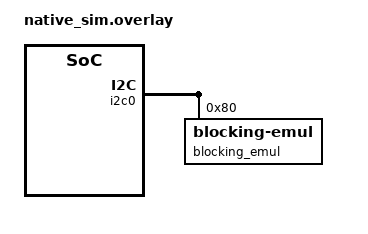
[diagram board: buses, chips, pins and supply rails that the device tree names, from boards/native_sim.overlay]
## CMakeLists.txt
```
# Copyright (c) 2024 Google LLC
# SPDX-License-Identifier: Apache-2.0

cmake_minimum_required(VERSION 3.28.0)
find_package(Zephyr REQUIRED HINTS $ENV{ZEPHYR_BASE})
project(rtio_i2c_test)

target_sources(app PRIVATE
    src/blocking_emul.cpp
    src/main.cpp
)

target_include_directories(app PRIVATE include)
```

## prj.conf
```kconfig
# Copyright (c) 2024 Google LLC
# SPDX-License-Identifier: Apache-2.0

# Features being tested
CONFIG_LOG=y
CONFIG_RTIO=y
CONFIG_I2C=y
CONFIG_I2C_RTIO=y

# Testing
CONFIG_ZTEST=y
CONFIG_EMUL=y

# The number of pending requests allowed
CONFIG_RTIO_WORKQ_POOL_ITEMS=2

# Used for debugging
CONFIG_I2C_LOG_LEVEL_DBG=y
CONFIG_I2C_DUMP_MESSAGES=y

# Language features for capturing lambdas
CONFIG_CPP=y
CONFIG_STD_CPP17=y
CONFIG_REQUIRES_FULL_LIBCPP=y
```

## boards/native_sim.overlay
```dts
/* Copyright (c) 2024 Google LLC
 * SPDX-License-Identifier: Apache-2.0
 */

&i2c0 {
	blocking_emul: blocking-emul@80 {
		compatible = "zephyr,blocking-emul";
		reg = <0x80>;
	};
};
```

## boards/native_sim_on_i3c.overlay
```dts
/* Copyright (c) 2026 Meta Platforms
 * SPDX-License-Identifier: Apache-2.0
 *
 * Runs the blocking_emul target on the native_sim board's zephyr,i3c-emul bus
 * via the legacy-I2C-on-I3C bridge (reg = <addr 0 lvr>), so the I2C-RTIO
 * fallback path is driven through the i3c controller's i2c_api.iodev_submit.
 */

&i2c0 {
	status = "disabled";
};

&i3c0 {
	blocking_emul: blocking-emul@520000000000000000 {
		compatible = "zephyr,blocking-emul";
		reg = <0x52 0 0>;
	};
};
```

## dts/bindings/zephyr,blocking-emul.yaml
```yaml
# Copyright (c) 2024 Google LLC
# SPDX-License-Identifier: Apache-2.0

description: |
  A generic blocking target device used for testing async RTIO APIs

compatible: "zephyr,blocking-emul"

include: i2c-device.yaml
```

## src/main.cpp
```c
/* Copyright (c) 2024 Google LLC
 * SPDX-License-Identifier: Apache-2.0
 */

#include "blocking_emul.hpp"

#include <zephyr/drivers/i2c.h>
#include <zephyr/fff.h>
#include <zephyr/rtio/rtio.h>
#include <zephyr/ztest.h>

DEFINE_FFF_GLOBALS;

static const struct device *i2c_dev = DEVICE_DT_GET(DT_NODELABEL(i2c0));
I2C_DT_IODEV_DEFINE(blocking_emul_iodev, DT_NODELABEL(blocking_emul));

RTIO_DEFINE(test_rtio_ctx, 4, 4);

static void rtio_i2c_before(void *fixture)
{
	ARG_UNUSED(fixture);
	RESET_FAKE(blocking_emul_i2c_transfer);
	FFF_RESET_HISTORY();

	rtio_sqe_drop_all(&test_rtio_ctx);

	struct rtio_cqe *cqe;

	while ((cqe = rtio_cqe_consume(&test_rtio_ctx)) != NULL) {
		rtio_cqe_release(&test_rtio_ctx, cqe);
	}
}

ZTEST_SUITE(rtio_i2c, NULL, NULL, rtio_i2c_before, NULL, NULL);

ZTEST(rtio_i2c, test_emulated_api_uses_fallback_submit)
{
	zassert_not_null(i2c_dev->api);
	zassert_equal_ptr(i2c_iodev_submit_fallback,
			  ((const struct i2c_driver_api *)i2c_dev->api)->iodev_submit);
}

ZTEST(rtio_i2c, test_fallback_submit_tx)
{
	uint8_t data[] = {0x01, 0x02, 0x03};
	struct i2c_msg msg = {
		.buf = data,
		.len = ARRAY_SIZE(data),
		.flags = I2C_MSG_WRITE | I2C_MSG_STOP,
	};

	blocking_emul_i2c_transfer_fake.custom_fake =
		[&msg](const struct emul *, struct i2c_msg *msgs, int msg_count, int) {
			zassert_equal(1, msg_count);
			zassert_equal(msg.len, msgs[0].len);
			zassert_mem_equal(msg.buf, msgs[0].buf, msg.len);
			zassert_equal(msg.flags, msgs[0].flags);
			return 0;
		};

	struct rtio_sqe *sqe = i2c_rtio_copy(&test_rtio_ctx, &blocking_emul_iodev, &msg, 1);

	zassert_not_null(sqe);
	zassert_ok(rtio_submit(&test_rtio_ctx, 1));
	zassert_equal(1, blocking_emul_i2c_transfer_fake.call_count);

	struct rtio_cqe *cqe = rtio_cqe_consume_block(&test_rtio_ctx);

	zassert_ok(cqe->result);
	rtio_cqe_release(&test_rtio_ctx, cqe);
}

ZTEST(rtio_i2c, test_fallback_submit_invalid_op)
{
	struct rtio_sqe *sqe = rtio_sqe_acquire(&test_rtio_ctx);

	zassert_not_null(sqe);
	sqe->op = UINT8_MAX;
	sqe->prio = RTIO_PRIO_NORM;
	sqe->iodev = &blocking_emul_iodev;
	sqe->userdata = NULL;

	zassert_ok(rtio_submit(&test_rtio_ctx, 1));
	zassert_equal(0, blocking_emul_i2c_transfer_fake.call_count);

	struct rtio_cqe *cqe = rtio_cqe_consume_block(&test_rtio_ctx);

	zassert_equal(-EIO, cqe->result);
	rtio_cqe_release(&test_rtio_ctx, cqe);
}

ZTEST(rtio_i2c, test_fallback_submit_tiny_tx)
{
	uint8_t data[] = {0x01, 0x02, 0x03};
	struct rtio_sqe *sqe = rtio_sqe_acquire(&test_rtio_ctx);

	blocking_emul_i2c_transfer_fake.custom_fake =
		[&data](const struct emul *, struct i2c_msg *msgs, int msg_count, int) {
			zassert_equal(1, msg_count);
			zassert_equal(ARRAY_SIZE(data), msgs[0].len);
			zassert_mem_equal(data, msgs[0].buf, msgs[0].len);
			zassert_equal(I2C_MSG_WRITE | I2C_MSG_STOP, msgs[0].flags);
			return 0;
		};

	zassert_not_null(sqe);

	rtio_sqe_prep_tiny_write(sqe, &blocking_emul_iodev, RTIO_PRIO_NORM, data, ARRAY_SIZE(data),
				 NULL);
	zassert_ok(rtio_submit(&test_rtio_ctx, 1));
	zassert_equal(1, blocking_emul_i2c_transfer_fake.call_count);

	struct rtio_cqe *cqe = rtio_cqe_consume_block(&test_rtio_ctx);

	zassert_ok(cqe->result);

	rtio_cqe_release(&test_rtio_ctx, cqe);
}

ZTEST(rtio_i2c, test_fallback_submit_rx)
{
	uint8_t expected_buffer[] = {0x00, 0x01, 0x02};
	uint8_t buffer[ARRAY_SIZE(expected_buffer)] = {0};
	struct i2c_msg msg = {
		.buf = buffer,
		.len = ARRAY_SIZE(buffer),
		.flags = I2C_MSG_READ | I2C_MSG_STOP,
	};

	blocking_emul_i2c_transfer_fake.custom_fake =
		[&msg](const struct emul *, struct i2c_msg *msgs, int msg_count, int) {
			zassert_equal(1, msg_count);
			zassert_equal(msg.len, msgs[0].len);
			zassert_equal(msg.flags, msgs[0].flags);
			for (uint8_t i = 0; i < msg.len; ++i) {
				msgs[0].buf[i] = i;
			}
			return 0;
		};

	struct rtio_sqe *sqe = i2c_rtio_copy(&test_rtio_ctx, &blocking_emul_iodev, &msg, 1);

	zassert_not_null(sqe);
	zassert_ok(rtio_submit(&test_rtio_ctx, 1));
	zassert_equal(1, blocking_emul_i2c_transfer_fake.call_count);

	struct rtio_cqe *cqe = rtio_cqe_consume_block(&test_rtio_ctx);

	zassert_ok(cqe->result);
	zassert_mem_equal(buffer, expected_buffer, ARRAY_SIZE(expected_buffer));

	rtio_cqe_release(&test_rtio_ctx, cqe);
}

ZTEST(rtio_i2c, test_fallback_transaction_error)
{
	uint8_t buffer[3] = {0x01, 0x02, 0x03};
	struct rtio_sqe *phase1 = rtio_sqe_acquire(&test_rtio_ctx);
	struct rtio_sqe *phase2 = rtio_sqe_acquire(&test_rtio_ctx);

	blocking_emul_i2c_transfer_fake.return_val = -EIO;

	zassert_not_null(phase1);
	zassert_not_null(phase2);

	rtio_sqe_prep_read(phase1, &blocking_emul_iodev, RTIO_PRIO_NORM, buffer, ARRAY_SIZE(buffer),
			   NULL);
	rtio_sqe_prep_read(phase2, &blocking_emul_iodev, RTIO_PRIO_NORM, buffer, ARRAY_SIZE(buffer),
			   NULL);

	phase1->flags |= RTIO_SQE_TRANSACTION;

	zassert_ok(rtio_submit(&test_rtio_ctx, 2));
	zassert_equal(1, blocking_emul_i2c_transfer_fake.call_count);

	struct rtio_cqe *cqe = rtio_cqe_consume_block(&test_rtio_ctx);

	zassert_equal(-EIO, cqe->result);

	rtio_cqe_release(&test_rtio_ctx, cqe);

	// We have another CQE for the transaction that must be cleared out.
	cqe = rtio_cqe_consume_block(&test_rtio_ctx);
	rtio_cqe_release(&test_rtio_ctx, cqe);
}

ZTEST(rtio_i2c, test_fallback_transaction)
{
	uint8_t buffer[3] = {0x01, 0x02, 0x03};
	struct rtio_sqe *phase1 = rtio_sqe_acquire(&test_rtio_ctx);
	struct rtio_sqe *phase2 = rtio_sqe_acquire(&test_rtio_ctx);

	zassert_not_null(phase1);
	zassert_not_null(phase2);

	rtio_sqe_prep_read(phase1, &blocking_emul_iodev, RTIO_PRIO_NORM, buffer, ARRAY_SIZE(buffer),
			   NULL);
	rtio_sqe_prep_read(phase2, &blocking_emul_iodev, RTIO_PRIO_NORM, buffer, ARRAY_SIZE(buffer),
			   NULL);

	phase1->flags |= RTIO_SQE_TRANSACTION;

	zassert_ok(rtio_submit(&test_rtio_ctx, 2));
	zassert_equal(1, blocking_emul_i2c_transfer_fake.call_count);

	struct rtio_cqe *cqe;

	// Check the first part of the transaction.
	cqe = rtio_cqe_consume_block(&test_rtio_ctx);
	zassert_ok(cqe->result);
	rtio_cqe_release(&test_rtio_ctx, cqe);

	// We have another CQE for the transaction that must be cleared out.
	cqe = rtio_cqe_consume_block(&test_rtio_ctx);
	zassert_ok(cqe->result);
	rtio_cqe_release(&test_rtio_ctx, cqe);
}

ZTEST(rtio_i2c, test_work_queue_overflow)
{
	BUILD_ASSERT(CONFIG_RTIO_WORKQ_POOL_ITEMS == 2);

	uint8_t data[][2] = {
		{0x01, 0x02},
		{0x03, 0x04},
		{0x05, 0x06},
	};
	struct i2c_msg msg[] = {
		{
			.buf = data[0],
			.len = 2,
			.flags = I2C_MSG_WRITE | I2C_MSG_STOP,
		},
		{
			.buf = data[1],
			.len = 2,
			.flags = I2C_MSG_READ | I2C_MSG_STOP,
		},
		{
			.buf = data[2],
			.len = 2,
			.flags = I2C_MSG_READ | I2C_MSG_ADDR_10_BITS | I2C_MSG_STOP,
		},
	};

	BUILD_ASSERT(ARRAY_SIZE(data) == ARRAY_SIZE(msg));

	blocking_emul_i2c_transfer_fake.custom_fake =
		[&msg](const struct emul *, struct i2c_msg *msgs, int msg_count, int) {
			zassert_equal(1, msg_count);

			int msg_idx = i2c_is_read_op(&msgs[0]) ? 1 : 0;

			zassert_equal(msg[msg_idx].len, msgs[0].len);
			zassert_mem_equal(msg[msg_idx].buf, msgs[0].buf, msg[msg_idx].len,
					  "Expected [0x%02x, 0x%02x] but got [0x%02x, 0x%02x]",
					  msg[msg_idx].buf[0], msg[msg_idx].buf[1], msgs[0].buf[0],
					  msgs[0].buf[1]);
			zassert_equal(msg[msg_idx].flags, msgs[0].flags);
			return 0;
		};

	struct rtio_sqe *sqe_write =
		i2c_rtio_copy(&test_rtio_ctx, &blocking_emul_iodev, &msg[0], 1);
	struct rtio_sqe *sqe_read = i2c_rtio_copy(&test_rtio_ctx, &blocking_emul_iodev, &msg[1], 1);
	struct rtio_sqe *sqe_dropped =
		i2c_rtio_copy(&test_rtio_ctx, &blocking_emul_iodev, &msg[2], 1);

	zassert_not_null(sqe_write);
	zassert_not_null(sqe_read);
	zassert_not_null(sqe_dropped);

	/* Add userdata so we can match these up with the CQEs */
	sqe_write->userdata = &msg[0];
	sqe_read->userdata = &msg[1];
	sqe_dropped->userdata = &msg[2];

	zassert_ok(rtio_submit(&test_rtio_ctx, 3));
	zassert_equal(2, blocking_emul_i2c_transfer_fake.call_count);

	struct rtio_cqe *cqe[] = {
		rtio_cqe_consume_block(&test_rtio_ctx),
		rtio_cqe_consume_block(&test_rtio_ctx),
		rtio_cqe_consume_block(&test_rtio_ctx),
	};

	/*
	 * We need to make sure that we got back results for all 3 messages and that there are no
	 * duplicates
	 */
	uint8_t msg_seen_mask = 0;
	for (unsigned int i = 0; i < ARRAY_SIZE(cqe); ++i) {
		int msg_idx = (struct i2c_msg *)cqe[i]->userdata - msg;

		zassert_true(msg_idx >= 0 && msg_idx < 3);
		msg_seen_mask |= BIT(msg_idx);
		if (msg_idx == 0 || msg_idx == 1) {
			/* Expect the first 2 to succeed */
			zassert_ok(cqe[i]->result);
		} else {
			zassert_equal(-ENOMEM, cqe[i]->result);
		}
	}

	/* Make sure bits 0, 1, and 2 were set. */
	zassert_equal(0x7, msg_seen_mask);

	rtio_cqe_release(&test_rtio_ctx, cqe[0]);
	rtio_cqe_release(&test_rtio_ctx, cqe[1]);
	rtio_cqe_release(&test_rtio_ctx, cqe[2]);
}
```

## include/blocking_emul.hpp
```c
/* Copyright (c) 2024 Google LLC
 * SPDX-License-Identifier: Apache-2.0
 */

#pragma once

#include <functional>

/*
 * We need to override fff's function signature away from a standard function pointer.
 * By using std::function<> we're able to leverage capture variables since additional storage must
 * be allocated for them. In the tests, we will include asserts in the lambda functions. This
 * provides the ability to assert inside the lambda and get errors that map to a line within the
 * test function. If we use plain function pointers, we have to move the expected value outside
 * of the test function and make it a static global of the compilational unit.
 *
 * Example:
 * @code
 * const uint8_t expected_value = 40;
 * my_function_fake.custom_fake = [&expected_value](uint8_t value) {
 *   zassert_equal(expected_value, value);
 * };
 * my_function(expected_value);
 * @endcode
 */
#define CUSTOM_FFF_FUNCTION_TEMPLATE(RETURN, FUNCNAME, ...)                                        \
	std::function<RETURN(__VA_ARGS__)> FUNCNAME

#include <zephyr/fff.h>

DECLARE_FAKE_VALUE_FUNC(int, blocking_emul_i2c_transfer, const struct emul *, struct i2c_msg *, int,
			int);
```

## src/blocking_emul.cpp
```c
/* Copyright (c) 2024 Google LLC
 * SPDX-License-Identifier: Apache-2.0
 */

#include <blocking_emul.hpp>

#include <zephyr/device.h>
#include <zephyr/drivers/emul.h>
#include <zephyr/drivers/i2c.h>
#include <zephyr/drivers/i2c_emul.h>
#include <zephyr/logging/log.h>

#define DT_DRV_COMPAT zephyr_blocking_emul

LOG_MODULE_REGISTER(blocking_emul, CONFIG_I2C_LOG_LEVEL);

DEFINE_FAKE_VALUE_FUNC(int, blocking_emul_i2c_transfer, const struct emul *, struct i2c_msg *, int,
		       int);

static struct i2c_emul_api blocking_emul_i2c_api = {
	.transfer = blocking_emul_i2c_transfer,
};

static int blocking_emul_init(const struct emul *target, const struct device *parent)
{
	return 0;
}

static int blocking_dev_init(const struct device *dev)
{
	return 0;
}

#define DECLARE_DRV(n)                                                                             \
	EMUL_DT_INST_DEFINE(n, blocking_emul_init, NULL, NULL, &blocking_emul_i2c_api, NULL);      \
	DEVICE_DT_INST_DEFINE(n, blocking_dev_init, NULL, NULL, NULL, POST_KERNEL, 99, NULL);

DT_INST_FOREACH_STATUS_OKAY(DECLARE_DRV)
```
